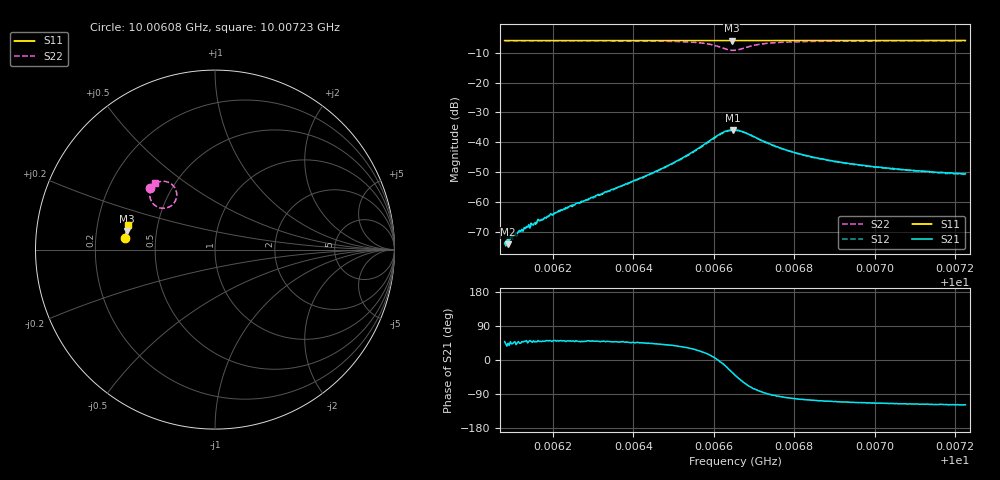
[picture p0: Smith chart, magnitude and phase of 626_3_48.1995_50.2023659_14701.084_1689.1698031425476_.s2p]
#  HZ  S  RI  R  50.00
! Rohde & Schwarz Vector Network Analyzer
! Rohde-Schwarz,ZNB20-2Port,1311601062101988,3.16
! Created: UTC 3/20/2024, 12:04:07 PM
! freq[Hz]  re:S11  im:S11  re:S21  im:S21  re:S12  im:S12  re:S22  im:S22
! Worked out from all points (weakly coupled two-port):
!   401 points, 10.00608 GHz to 10.00723 GHz, reference 50 ohm
!   highest |S21| = -35.83 dB at 10.00665 GHz (marker M1); lowest = -74.1 dB at 10.00609 GHz (marker M2)
!   lowest |S11| = -6.0 dB at 10.00664 GHz (marker M3), VSWR 3.02, Z = 16.7 + j4.53 ohm
!   |S11| at or under -10 dB: nowhere
!   |S22| runs from -9.3 to -6.0 dB; largest |S21 - S12| = 0.0012
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1.0006079e10  -0.4989 0.0655  0.000133 0.000151  0.00014 0.000166  -0.3639 0.3411
1.0006088e10  -0.499 0.066  0.000142 0.000137  0.000204 0.000172  -0.3633 0.3417
1.0006102e10  -0.4987 0.067  0.000187 0.000201  0.000183 0.000218  -0.3624 0.3426
1.0006134e10  -0.4986 0.069  0.000244 0.000304  0.000228 0.0003  -0.3604 0.3449
1.0006148e10  -0.4986 0.07  0.00029 0.000309  0.000283 0.000315  -0.3593 0.3459
1.000616e10  -0.4983 0.0708  0.000307 0.000341  0.000261 0.000365  -0.3586 0.3468
1.0006191e10  -0.4981 0.0728  0.000374 0.000469  0.000367 0.000468  -0.3563 0.3491
1.0006272e10  -0.4975 0.0782  0.000671 0.000786  0.000611 0.000807  -0.3497 0.3554
1.0006464e10  -0.4957 0.0907  0.00255 0.00231  0.00242 0.00238  -0.3201 0.3747
1.0006532e10  -0.4946 0.0952  0.00505 0.00327  0.00477 0.0034  -0.2916 0.3808
1.0006581e10  -0.4938 0.0984  0.00925 0.00293  0.00883 0.00327  -0.2509 0.3705
1.0006621e10  -0.4926 0.1005  0.0143 -0.00214  0.0139 -0.00138  -0.2135 0.3139
1.0006644e10  -0.4922 0.1014  0.0137 -0.00829  0.0139 -0.00731  -0.2292 0.2584
1.0006647e10  -0.4923 0.1015  0.0134 -0.00905  0.0136 -0.00799  -0.2343 0.2526
1.0006653e10  -0.4923 0.1016  0.0123 -0.0104  0.0128 -0.00926  -0.2463 0.2426
1.0006676e10  -0.4925 0.1028  0.00726 -0.0128  0.00805 -0.0122  -0.299 0.2305
1.0006716e10  -0.4927 0.1053  0.00139 -0.0108  0.00198 -0.0108  -0.3504 0.2628
1.000677e10  -0.4924 0.1093  -0.00104 -0.00777  -0.000608 -0.00769  -0.3633 0.3011
1.0006845e10  -0.4916 0.114  -0.00159 -0.00545  -0.00128 -0.00544  -0.3603 0.3279
1.0006931e10  -0.4904 0.1196  -0.00161 -0.00419  -0.00136 -0.00417  -0.3536 0.3441
1.0007037e10  -0.4891 0.1264  -0.00156 -0.00334  -0.00134 -0.00335  -0.3461 0.3566
1.0007226e10  -0.4862 0.1384  -0.0014 -0.00262  -0.00126 -0.00261  -0.3341 0.3714
